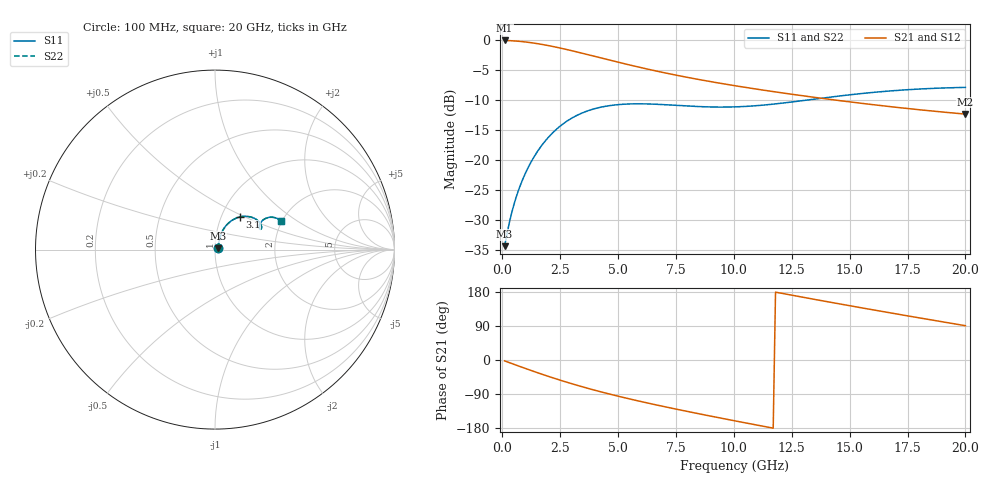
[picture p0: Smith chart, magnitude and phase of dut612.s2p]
! Touchstone file exported from HFSS 2024.1.0
!  File:  C:/UserFiles/LocalFiles/RDL_TSV_Batchsim/temp_RDL_TSV_612_1779799773.aedt
!  Generated:  09:11:40 PM May 26, 2026
!  Design:  RDL_TSV
!  Project:  temp_RDL_TSV_612_1779799773
!  Setup:  Setup1
!  Solution:  Sweep
! Variables:
!  dtsv = 6.78um
!  hbump = 3um
!  htsv = 99.31um
!  ldown = 508.81um
!  lrdl = 573.6um
!  p = 40
!  p1 = 59.02um
!  rhole = 10um
!  subl = 3820.83um
!  t = 450um
!  tdown = 4.95um
!  trdl = 4.02um
!  viad = 10um
!  wdown = 20.15um
!  wrdl = 20.19um
!  xbump = 18um
# GHz S MA R 50.000000
! Terminal data exported
! Port[1] = TM1_1_T1
! Port[2] = TM1_4_T1
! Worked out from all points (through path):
!   200 points, 100 MHz to 20 GHz, reference 50 ohm
!   highest |S21| = -0.15 dB at 100 MHz (marker M1); lowest = -12.4 dB at 20 GHz (marker M2)
!   group delay of S21, straight-line fit = 35.4 ps
!   lowest |S11| = -34.4 dB at 100 MHz (marker M3), VSWR 1.04, Z = 51.8 + j0.824 ohm
!   |S11| at or under -10 dB: start of sweep to 13.32 GHz
!   |S22| runs from -34.4 to -8.0 dB; largest |S21 - S12| = 1.4e-14
!   S11 on the Smith chart (normalised r, x): 100 MHz: 1.04, +0.02; 3.1 GHz: 1.22, +0.47; 20 GHz: 1.97, +0.74
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0.1  0.01902 24.7  0.9825 -2.3  0.9825 -2.3  0.01902 24.7
! Gamma 0 0 0 0
! Port Impedance 50 0 50 0
0.3  0.02962 49.4  0.9791 -6.9  0.9791 -6.9  0.02963 49.4
0.6  0.04872 62.5  0.9711 -13.6  0.9711 -13.6  0.04872 62.5
0.9  0.06979 67.2  0.9593 -20.2  0.9593 -20.2  0.06977 67.2
1.2  0.09221 68.5  0.944 -26.7  0.944 -26.7  0.09217 68.4
1.6  0.1232 67.3  0.9189 -35.2  0.9189 -35.2  0.1231 67.3
2.1  0.1616 63.5  0.882 -45.4  0.882 -45.4  0.1614 63.5
2.6  0.1969 58.5  0.8412 -55.2  0.8412 -55.2  0.1967 58.5
3.1  0.2272 53.0  0.7988 -64.4  0.7988 -64.4  0.2269 53.0
3.5  0.2469 48.7  0.7648 -71.5  0.7648 -71.5  0.2466 48.6
4.3  0.2744 40.7  0.6997 -84.7  0.6997 -84.7  0.2741 40.7
5.1  0.2881 34.2  0.6407 -97.0  0.6407 -97.0  0.2878 34.2
5.9  0.2916 29.2  0.5889 -108.4  0.5889 -108.4  0.2913 29.3
6.8  0.2882 25.7  0.5389 -120.5  0.5389 -120.5  0.288 25.7
8.4  0.277 24.0  0.468 -140.8  0.468 -140.8  0.277 24.0
10.1  0.2751 26.7  0.4109 -161.2  0.4109 -161.2  0.2751 26.7
11.6  0.2884 29.9  0.3709 -178.7  0.3709 -178.7  0.2884 29.9
13.4  0.3176 31.7  0.3316 160.9  0.3316 160.9  0.3175 31.6
15  0.3465 31.1  0.3026 143.3  0.3026 143.3  0.3463 31.0
16.7  0.3726 28.9  0.2769 125.0  0.2769 125.0  0.3723 28.8
18.3  0.3897 26.2  0.2568 108.1  0.2568 108.1  0.3893 26.1
20  0.3994 23.4  0.2394 90.5  0.2394 90.5  0.399 23.3
